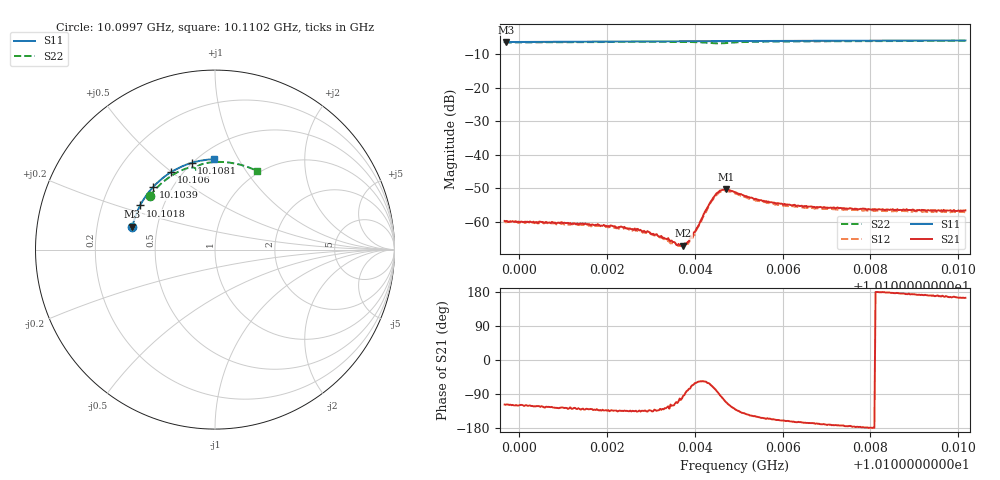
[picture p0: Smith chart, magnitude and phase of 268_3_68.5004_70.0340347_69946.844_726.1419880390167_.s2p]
#  HZ  S  RI  R  50.00
! Rohde & Schwarz Vector Network Analyzer
! Rohde-Schwarz,ZNB20-2Port,1311601062101988,3.16
! Created: UTC 3/20/2024, 5:00:39 PM
! freq[Hz]  re:S11  im:S11  re:S21  im:S21  re:S12  im:S12  re:S22  im:S22
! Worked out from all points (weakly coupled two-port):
!   401 points, 10.0997 GHz to 10.1102 GHz, reference 50 ohm
!   highest |S21| = -50.36 dB at 10.1047 GHz (marker M1); lowest = -67.1 dB at 10.1037 GHz (marker M2)
!   lowest |S11| = -6.4 dB at 10.0997 GHz (marker M3), VSWR 2.83, Z = 18 + j5.93 ohm
!   |S11| at or under -10 dB: nowhere
!   |S22| runs from -6.8 to -6.1 dB; largest |S21 - S12| = 0.00031
!   S11 on the Smith chart (normalised r, x): 10.0997 GHz: 0.36, +0.12; 10.1018 GHz: 0.37, +0.24; 10.1039 GHz: 0.39, +0.36; 10.106 GHz: 0.43, +0.50; 10.1081 GHz: 0.50, +0.64; 10.1102 GHz: 0.59, +0.80
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1.009967e10  -0.4605 0.1258  -0.000475 -0.000913  -0.000371 -0.000921  -0.3631 0.2983
1.009969e10  -0.46 0.1274  -0.000485 -0.000901  -0.000392 -0.000903  -0.3621 0.2999
1.010064e10  -0.4444 0.183  -0.000541 -0.000807  -0.00047 -0.000828  -0.3225 0.3462
1.010142e10  -0.4263 0.2273  -0.000594 -0.000723  -0.000514 -0.000739  -0.2848 0.3807
1.010177e10  -0.4173 0.246  -0.000576 -0.000688  -0.000534 -0.000689  -0.2673 0.3944
1.010268e10  -0.3885 0.294  -0.000569 -0.000541  -0.000492 -0.000559  -0.2167 0.4271
1.010318e10  -0.3707 0.3184  -0.000409 -0.000446  -0.000351 -0.000478  -0.1868 0.4419
1.010363e10  -0.3534 0.3394  -0.000151 -0.000443  -0.000118 -0.00042  -0.1576 0.4527
1.010373e10  -0.3492 0.344  -3.66e-05 -0.000441  -7.08e-06 -0.000433  -0.1501 0.4547
1.010387e10  -0.3438 0.35  0.000123 -0.000497  0.000182 -0.000459  -0.1406 0.4566
1.0104e10  -0.3383 0.3557  0.00033 -0.000614  0.000354 -0.000535  -0.1306 0.4575
1.010426e10  -0.3272 0.3669  0.000813 -0.00128  0.000841 -0.00115  -0.1108 0.4539
1.010442e10  -0.3203 0.3735  0.000712 -0.00215  0.000865 -0.00198  -0.1039 0.4471
1.010455e10  -0.3144 0.3788  5.22e-05 -0.00282  0.0003 -0.0027  -0.1047 0.4433
1.010471e10  -0.3074 0.3851  -0.00108 -0.00284  -0.000785 -0.00279  -0.1074 0.4478
1.010492e10  -0.2979 0.3934  -0.00177 -0.00212  -0.00152 -0.00217  -0.1008 0.4602
1.010544e10  -0.2725 0.413  -0.00186 -0.00105  -0.0017 -0.00115  -0.0667 0.4779
1.010597e10  -0.2462 0.4308  -0.00175 -0.000656  -0.0016 -0.000767  -0.0311 0.4851
1.010667e10  -0.2089 0.4518  -0.00163 -0.000396  -0.00152 -0.000493  0.0157 0.4886
1.010807e10  -0.1308 0.4831  -0.00154 -3.3e-05  -0.00146 -0.000165  0.105 0.481
1.010843e10  -0.1094 0.489  -0.0015 4.83e-05  -0.00143 -8.43e-05  0.1281 0.4762
1.011017e10  -0.00579 0.5037  -0.00142 0.000405  -0.00137 0.000244  0.2318 0.439
